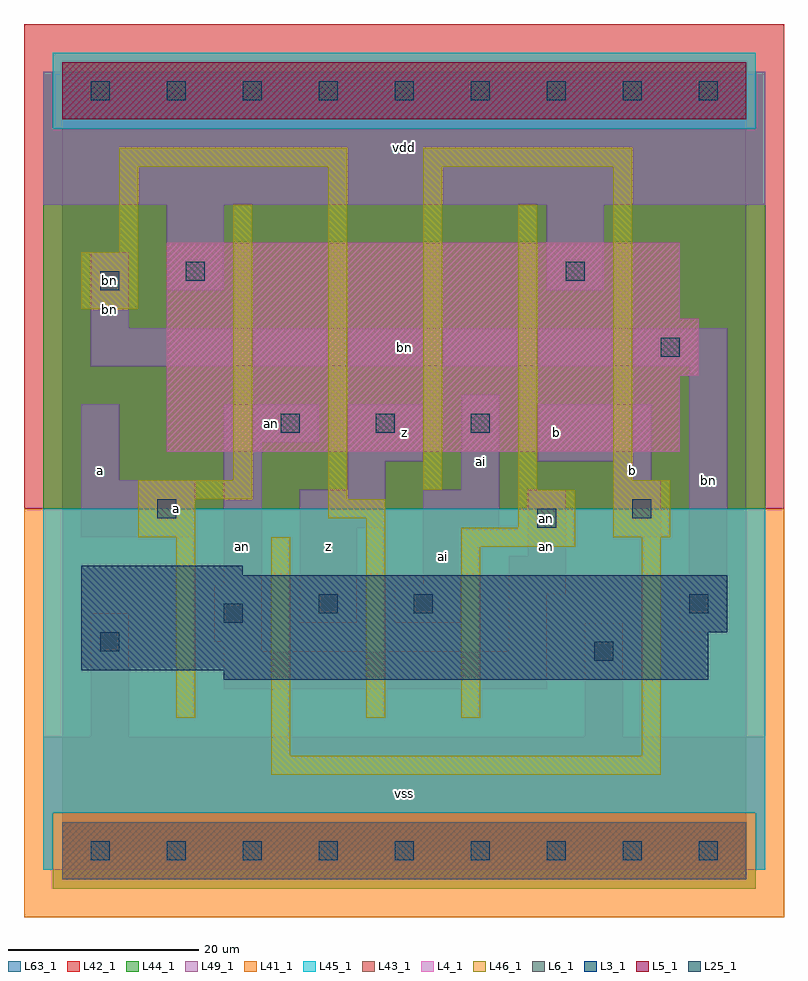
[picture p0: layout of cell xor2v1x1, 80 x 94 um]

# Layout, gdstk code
import gdstk
lib = gdstk.Library(unit=1e-6, precision=1e-09)
def R(c, l, rs):  # rectangles x0, y0, x1, y1
    for r in rs: c.add(gdstk.rectangle(r[:2], r[2:], *l))
def A(c, l, x, y, w, h, nx, ny, dx, dy):  # array of equal rectangles
    R(c, l, [(x+i*dx, y+j*dy, x+i*dx+w, y+j*dy+h) for i in range(nx) for j in range(ny)])
L3_1 = (3, 1)
L4_1 = (4, 1)
L5_1 = (5, 1)
L6_1 = (6, 1)
L25_1 = (25, 1)
L41_1 = (41, 1)
L42_1 = (42, 1)
L43_1 = (43, 1)
L44_1 = (44, 1)
L45_1 = (45, 1)
L46_1 = (46, 1)
L49_1 = (49, 1)
L63_1 = (63, 1)

xor2v1x1 = lib.new_cell('xor2v1x1')
R(xor2v1x1, L3_1, [(17,18,68,19), (2,19,68,23), (2,23,70,29), (2,29,19,30)])
R(xor2v1x1, L4_1, [(11,42,65,50), (11,50,67,56), (11,56,65,64)])
R(xor2v1x1, L5_1, [(0,77,72,83)])
R(xor2v1x1, L6_1, [(0,-3,72,3), (0,-3,72,3)])
A(xor2v1x1, L25_1, 3, -1, 2, 2, 9, 2, 8, 80)
A(xor2v1x1, L25_1, 23, 44, 2, 2, 3, 1, 10, 0)
R(xor2v1x1, L25_1, [(56,20,58,22), (4,21,6,23), (17,24,19,26), (27,25,29,27), (37,25,39,27), (66,25,68,27), (50,34,52,36), (10,35,12,37), (60,35,62,37), (63,52,65,54), (4,59,6,61), (13,60,15,62), (53,60,55,62)])
R(xor2v1x1, L41_1, [(-4,-7,76,36)])
R(xor2v1x1, L42_1, [(-4,36,76,87)])
R(xor2v1x1, L43_1, [(0,-3,72,3), (17,18,68,19), (2,19,68,23), (2,23,70,29), (2,29,19,30), (11,42,65,50), (11,50,67,56), (11,56,65,64), (0,77,72,83)])
R(xor2v1x1, L44_1, [(-1,-4,73,4), (-2,36,74,76), (-2,76,-1,82), (73,76,74,82)])
R(xor2v1x1, L45_1, [(-2,-2,-1,4), (73,-2,74,4), (-2,4,74,36), (-1,76,73,84)])
R(xor2v1x1, L46_1, [(22,8,63,10), (22,10,24,33), (61,10,63,33), (12,14,14,33), (32,14,34,35), (42,14,44,32), (42,32,54,34), (8,33,14,37), (58,33,64,39), (48,34,54,38), (28,35,34,37), (8,37,20,39), (28,37,30,72), (38,38,40,72), (48,38,50,68), (18,39,20,68), (58,39,60,72), (2,57,8,63), (6,63,8,72), (6,72,30,74), (38,72,60,74)])
R(xor2v1x1, L49_1, [(-2,-2,74,12), (3,12,7,25), (55,12,59,24), (17,17,51,21), (17,21,21,22), (47,21,51,27), (16,22,21,28), (65,23,70,29), (25,24,31,34), (35,24,42,28), (47,27,53,31), (17,28,21,43), (38,28,42,34), (66,29,70,51), (49,31,53,38), (2,33,14,39), (58,33,63,39), (25,34,34,38), (38,34,46,38), (30,38,34,41), (42,38,46,48), (2,39,6,47), (58,39,62,41), (30,41,38,47), (50,41,62,47), (17,43,27,47), (3,51,70,55), (3,55,7,63), (11,59,17,68), (51,59,57,68), (-2,68,74,82)])
R(xor2v1x1, L63_1, [(0,0,72,80)])
xor2v1x1.add(gdstk.Label('bn', (5,60), layer=49, texttype=1))
xor2v1x1.add(gdstk.Label('an', (51,35), layer=49, texttype=1))
xor2v1x1.add(gdstk.Label('a', (4,40), layer=49, texttype=1))
xor2v1x1.add(gdstk.Label('bn', (5,57), layer=49, texttype=1))
xor2v1x1.add(gdstk.Label('an', (19,32), layer=49, texttype=1))
xor2v1x1.add(gdstk.Label('a', (12,36), layer=49, texttype=1))
xor2v1x1.add(gdstk.Label('an', (22,45), layer=49, texttype=1))
xor2v1x1.add(gdstk.Label('vss', (36,6), layer=49, texttype=1))
xor2v1x1.add(gdstk.Label('ai', (40,31), layer=49, texttype=1))
xor2v1x1.add(gdstk.Label('z', (28,32), layer=49, texttype=1))
xor2v1x1.add(gdstk.Label('z', (36,44), layer=49, texttype=1))
xor2v1x1.add(gdstk.Label('vdd', (36,74), layer=49, texttype=1))
xor2v1x1.add(gdstk.Label('an', (51,32), layer=49, texttype=1))
xor2v1x1.add(gdstk.Label('b', (52,44), layer=49, texttype=1))
xor2v1x1.add(gdstk.Label('ai', (44,41), layer=49, texttype=1))
xor2v1x1.add(gdstk.Label('b', (60,40), layer=49, texttype=1))
xor2v1x1.add(gdstk.Label('bn', (68,39), layer=49, texttype=1))
xor2v1x1.add(gdstk.Label('bn', (36,53), layer=49, texttype=1))

lib.write_gds('xor2v1x1.gds')
